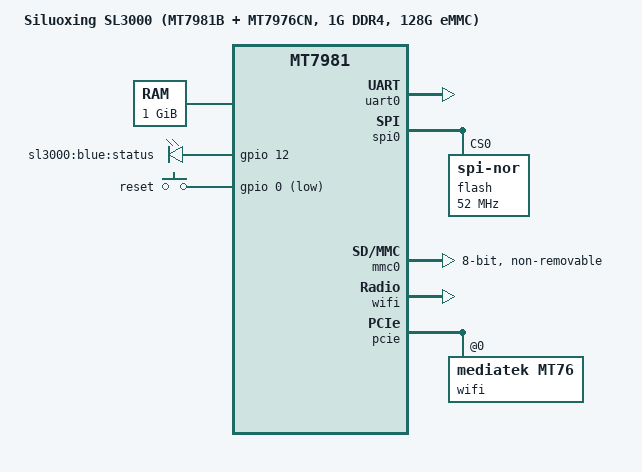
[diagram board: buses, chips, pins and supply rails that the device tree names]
// SPDX-License-Identifier: GPL-2.0-or-later
/dts-v1/;

#include "mt7981.dtsi"

/ {
    compatible = "siluoxing,sl3000-emmc", "mediatek,mt7981";
    model = "Siluoxing SL3000 (MT7981B + MT7976CN, 1G DDR4, 128G eMMC)";

    memory {
        device_type = "memory";
        reg = <0x40000000 0x40000000>; // 1GB DDR4
    };

    chosen {
        stdout-path = &uart0;
        bootargs = "console=ttyS0,115200n8";
    };

    aliases {
        led-boot = &led_status;
        led-failsafe = &led_status;
        led-running = &led_status;
        led-upgrade = &led_status;
    };

    /* LED 控制器节点（自己定义一个 gpio-leds） */
    leds {
        compatible = "gpio-leds";

        led_status: status {
            label = "sl3000:blue:status";
            gpios = <&gpio 12 GPIO_ACTIVE_HIGH>;
            default-state = "on";
        };
    };

    /* 按键节点 */
    keys {
        compatible = "gpio-keys";

        reset {
            label = "reset";
            gpios = <&gpio 0 GPIO_ACTIVE_LOW>;
            linux,code = <KEY_RESTART>;
        };
    };
};

/* UART */
&uart0 {
    status = "okay";
};

/* GPIO 控制器 */
&gpio {
    status = "okay";
};

/* SPI NOR 32MB: 25Q256FSSIG */
&spi0 {
    status = "okay";

    flash@0 {
        compatible = "jedec,spi-nor";
        reg = <0>;
        spi-max-frequency = <52000000>;
        #address-cells = <1>;
        #size-cells = <1>;

        /* 这里的分区你后面再按实际情况补 */
    };
};

/* eMMC 128GB: HSEMSDS7D2B128G */
&mmc0 {
    bus-width = <8>;
    max-frequency = <200000000>;
    cap-mmc-highspeed;
    non-removable;
    status = "okay";
};

/* 内置 WiFi (MT7981) */
&wifi {
    status = "okay";
};

/* 外挂 WiFi (MT7976CN) — 先按 pcie 占位 */
&pcie {
    status = "okay";

    wifi@0,0 {
        compatible = "mediatek,mt76";
        reg = <0 0 0 0 0>;
    };
};
